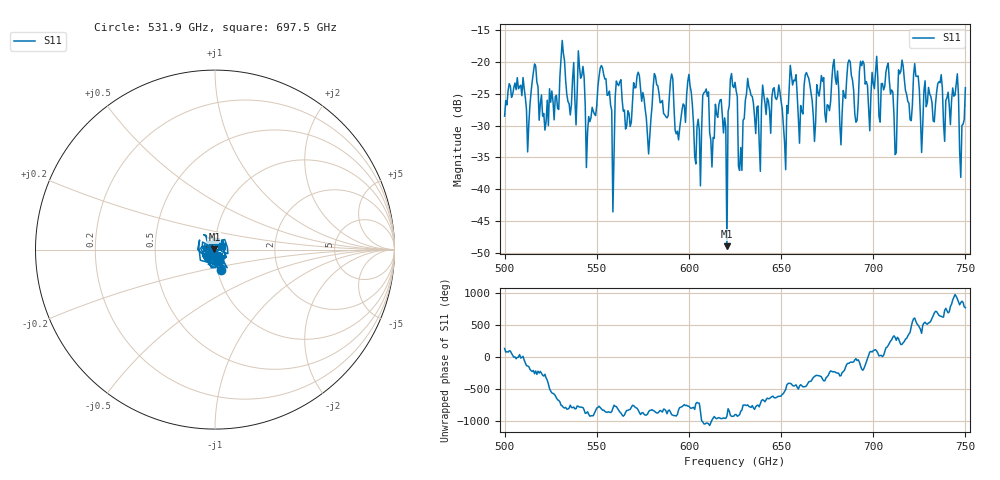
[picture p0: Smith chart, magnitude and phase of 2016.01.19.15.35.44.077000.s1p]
!Created with skrf (http://scikit-rf.org).
# GHz S RI R 50.0
!freq ReS11 ImS11
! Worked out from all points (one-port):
!   401 points, 500 GHz to 750 GHz, reference 50 ohm
!   lowest |S11| = -48.9 dB at 620.6 GHz (marker M1), VSWR 1.01, Z = 49.7 + j0.168 ohm
!   |S11| at or under -10 dB: start of sweep to end of sweep
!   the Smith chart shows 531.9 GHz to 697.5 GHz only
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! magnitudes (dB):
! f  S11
! 500 GHz  -28.5
! 516.2 GHz  -20.3
! 522.5 GHz  -29.4
! 531.2 GHz  -16.7
! 535 GHz  -26.6
! 541.2 GHz  -22.6
! 545.6 GHz  -28.6
! 552.5 GHz  -20.6
! 558.8 GHz  -43.5
! 562.5 GHz  -23.1
! 578.1 GHz  -34.4
! 590.6 GHz  -21.9
! 593.8 GHz  -30.9
! 600 GHz  -22.0
! 605 GHz  -29.0
! 609.4 GHz  -24.3
! 620.6 GHz  -48.9
! 625 GHz  -23.2
! 628.1 GHz  -33.4
! 631.9 GHz  -22.6
! 652.5 GHz  -36.9
! 656.2 GHz  -23.7
! 683.1 GHz  -28.1
! 687.5 GHz  -20.0
! 690.6 GHz  -29.5
! 693.8 GHz  -20.6
! 718.8 GHz  -26.2
! 750 GHz  -24.1
